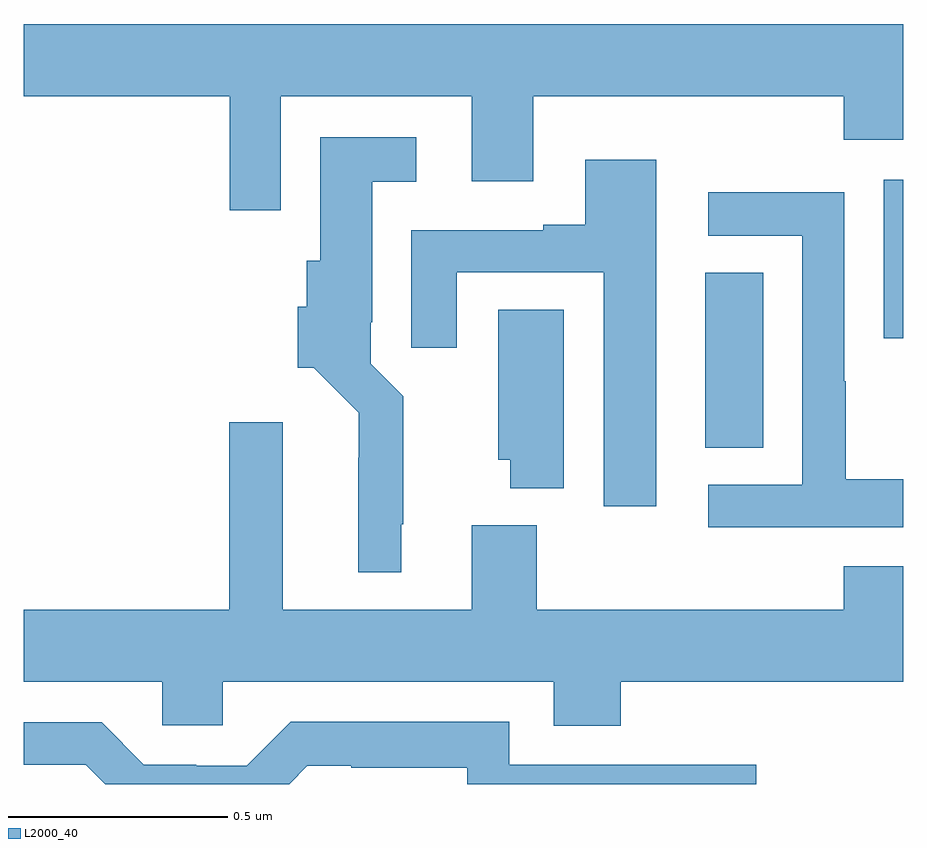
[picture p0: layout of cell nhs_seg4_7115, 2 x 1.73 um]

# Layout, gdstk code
import gdstk
lib = gdstk.Library(unit=1e-6, precision=1e-09)
def R(c, l, rs):  # rectangles x0, y0, x1, y1
    for r in rs: c.add(gdstk.rectangle(r[:2], r[2:], *l))
def P(c, l, *ps):  # polygons
    for p in ps: c.add(gdstk.Polygon(p, *l))
L2000_40 = (2000, 40)

nhs_seg4_7115 = lib.new_cell('nhs_seg4_7115')
R(nhs_seg4_7115, L2000_40, [(199.55,818.665,199.681,819.062), (199.955,818.913,200,819.274)])
P(nhs_seg4_7115, L2000_40, [(198.585,819.464),(199.019,819.464),(199.019,819.27),(199.159,819.27),(199.159,819.464),(199.865,819.464),(199.865,819.365),(200,819.365),(200,819.628),(198,819.628),(198,819.464),(198.469,819.464),(198.469,819.204),(198.585,819.204)],
  [(198.859,818.491),(198.863,818.491),(198.863,818.782),(198.789,818.856),(198.789,818.95),(198.793,818.95),(198.793,819.269),(198.892,819.269),(198.892,819.37),(198.674,819.37),(198.674,819.09),(198.644,819.09),(198.644,818.985),(198.623,818.985),(198.623,818.846),(198.66,818.846),(198.762,818.744),(198.762,818.642),(198.761,818.642),(198.761,818.381),(198.859,818.381)],
  [(199.438,819.319),(199.277,819.319),(199.277,819.172),(199.181,819.172),(199.181,819.159),(198.881,819.159),(198.881,818.892),(198.985,818.892),(198.985,819.063),(199.319,819.063),(199.319,818.532),(199.438,818.532)],
  [(200,818.593),(199.869,818.593),(199.869,818.816),(199.866,818.816),(199.866,819.246),(199.557,819.246),(199.557,819.147),(199.77,819.147),(199.77,818.58),(199.557,818.58),(199.557,818.484),(200,818.484)],
  [(199.228,818.978),(199.079,818.978),(199.079,818.637),(199.106,818.637),(199.106,818.573),(199.228,818.573)],
  [(199.358,818.132),(200,818.132),(200,818.395),(199.865,818.395),(199.865,818.296),(199.167,818.296),(199.167,818.488),(199.019,818.488),(199.019,818.296),(198.589,818.296),(198.589,818.722),(198.467,818.722),(198.467,818.296),(198,818.296),(198,818.132),(198.315,818.132),(198.315,818.034),(198.453,818.034),(198.453,818.132),(199.205,818.132),(199.205,818.033),(199.358,818.033)],
  [(198.645,817.941),(198.745,817.941),(198.745,817.937),(199.008,817.937),(199.008,817.9),(199.666,817.9),(199.666,817.944),(199.104,817.944),(199.104,818.041),(198.607,818.041),(198.507,817.941),(198.392,817.941),(198.392,817.944),(198.273,817.944),(198.177,818.04),(198,818.04),(198,817.944),(198.141,817.944),(198.185,817.9),(198.604,817.9)])

lib.write_gds('nhs_seg4_7115.gds')
